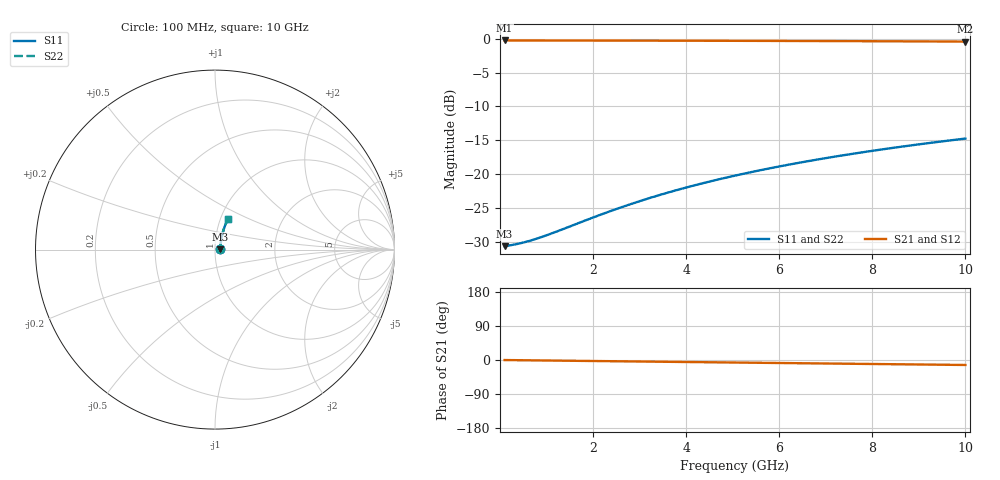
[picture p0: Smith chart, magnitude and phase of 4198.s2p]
# Hz S RI R 50.00
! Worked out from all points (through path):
!   100 points, 100 MHz to 10 GHz, reference 50 ohm
!   highest |S21| = -0.26 dB at 100 MHz (marker M1); lowest = -0.4 dB at 10 GHz (marker M2)
!   group delay of S21, straight-line fit = 3.65 ps
!   lowest |S11| = -30.6 dB at 100 MHz (marker M3), VSWR 1.06, Z = 53 + j0.188 ohm
!   |S11| at or under -10 dB: start of sweep to end of sweep
!   |S22| runs from -30.6 to -14.7 dB; largest |S21 - S12| = 0
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1e8  0.0293 0.00177  0.9707 -0.00225  0.9707 -0.00225  0.0293 0.00177
3e8  0.0297 0.00532  0.9703 -0.00674  0.9703 -0.00674  0.0297 0.00532
4e8  0.0298 0.00709  0.9702 -0.00899  0.9702 -0.00899  0.0298 0.00709
6e8  0.0301 0.0106  0.9699 -0.0135  0.9699 -0.0135  0.0301 0.0106
8e8  0.0303 0.0142  0.9696 -0.018  0.9696 -0.018  0.0303 0.0142
1.2e9  0.0309 0.0212  0.9691 -0.0269  0.9691 -0.0269  0.0309 0.0212
1.8e9  0.0319 0.0318  0.9681 -0.0403  0.9681 -0.0403  0.0319 0.0318
2.2e9  0.0327 0.0388  0.9673 -0.0493  0.9673 -0.0493  0.0327 0.0388
2.6e9  0.0335 0.0458  0.9664 -0.0582  0.9664 -0.0582  0.0335 0.0458
3e9  0.0346 0.0528  0.9653 -0.0671  0.9653 -0.0671  0.0346 0.0528
3.4e9  0.0357 0.0598  0.9642 -0.0759  0.9642 -0.0759  0.0357 0.0598
3.8e9  0.0369 0.0667  0.9629 -0.0847  0.9629 -0.0847  0.0369 0.0667
4.2e9  0.0383 0.0736  0.9615 -0.0935  0.9615 -0.0935  0.0383 0.0736
4.6e9  0.0398 0.0805  0.9599 -0.1023  0.9599 -0.1023  0.0398 0.0805
5.1e9  0.0419 0.089  0.9578 -0.1132  0.9578 -0.1132  0.0419 0.089
5.5e9  0.0436 0.0958  0.956 -0.1219  0.956 -0.1219  0.0436 0.0958
5.9e9  0.0455 0.1026  0.9541 -0.1306  0.9541 -0.1306  0.0455 0.1026
6.7e9  0.0496 0.1159  0.9498 -0.1477  0.9498 -0.1477  0.0496 0.1159
7.5e9  0.0542 0.129  0.9451 -0.1647  0.9451 -0.1647  0.0542 0.129
8.4e9  0.0599 0.1436  0.9392 -0.1835  0.9392 -0.1835  0.0599 0.1436
9.2e9  0.0655 0.1562  0.9335 -0.1999  0.9335 -0.1999  0.0655 0.1562
1e10  0.0714 0.1686  0.9274 -0.2162  0.9274 -0.2162  0.0714 0.1686
